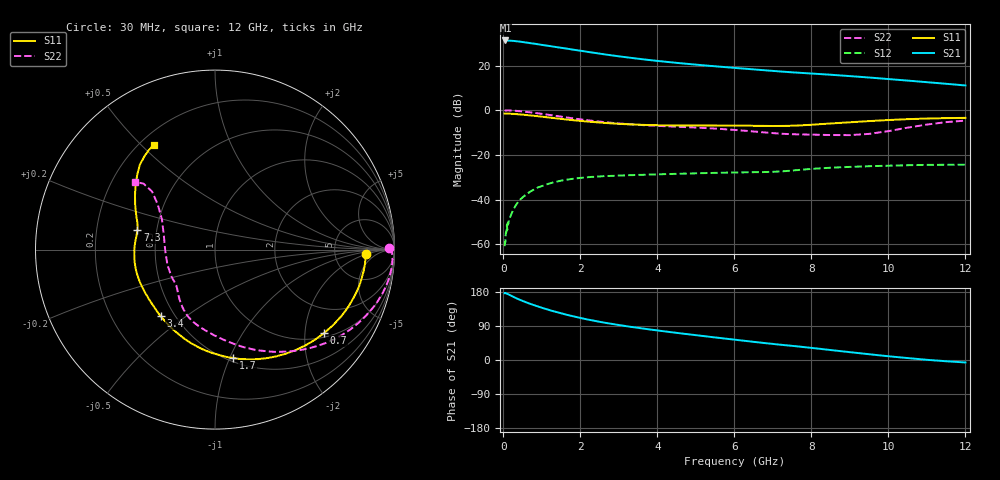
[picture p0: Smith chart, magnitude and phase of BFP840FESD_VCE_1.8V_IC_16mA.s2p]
! Infineon Technologies  Discrete & RF Semiconductors
! BFP840FESD
! VCE =  1.8 V,  IC =  16 mA
! Common Emitter S-Parameters:  May 2012
# GHz  S  MA  R  50
!  f  S11  S21  S12  S22
! GHz  MAG  ANG  MAG  ANG  MAG  ANG  MAG  ANG
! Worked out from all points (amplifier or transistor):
!   103 points, 30 MHz to 12 GHz, reference 50 ohm
!   highest |S21| = 31.3 dB at 50 MHz (marker M1)
!   |S21| within 3 dB of that: start of sweep to 1.387 GHz
!   unconditionally stable (mu >= 1): 6.066 GHz to end of sweep
!   at 400 MHz: K = 0.13, MSG = 35.8 dB, |S12| = -40.8 dB
!   at 3.7 GHz: K = 0.67, MSG = 25.8 dB, |S12| = -28.9 dB
!   at 12 GHz: K = 1.11, MAG = 15.7 dB, |S12| = -24.4 dB
!   S11 on the Smith chart (normalised r, x): 30 MHz: 11, -2; 700 MHz: 1.12, -2.51; 1.7 GHz: 0.53, -1.03; 3.4 GHz: 0.42, -0.40; 7.3 GHz: 0.39, +0.11; 12 GHz: 0.26, +0.55
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0.03  0.8395 -1.6  36.64 176.2  0.0009 109.7  0.9722 0.4
0.04  0.8406 -2.2  36.62 175.9  0.0011 84.2  0.9798 -0.2
0.05  0.8391 -2.7  36.64 177.0  0.0011 104.4  0.9843 -0.7
0.2  0.8326 -11.4  36.09 169.5  0.0046 80.9  0.9858 -8.0
0.35  0.8165 -19.6  35.06 162.3  0.0081 78.1  0.9656 -14.4
0.5  0.7967 -27.5  33.73 155.8  0.0112 73.1  0.9384 -20.1
0.7  0.7655 -37.4  31.82 148.1  0.0151 68.7  0.8963 -27.3
0.9  0.7332 -46.9  30.07 141.1  0.0187 63.6  0.8519 -34.0
1.2  0.6851 -60.4  27.45 131.6  0.0229 57.1  0.7836 -43.2
1.4  0.6549 -68.8  25.84 125.9  0.0253 53.0  0.7401 -48.9
1.7  0.6117 -80.6  23.6 118.0  0.0282 47.9  0.6779 -57.1
2.1  0.5664 -94.8  20.91 108.7  0.031 42.4  0.6102 -66.9
2.4  0.5396 -103.9  19.12 102.7  0.0324 39.0  0.5687 -73.3
2.7  0.5149 -112.4  17.52 97.2  0.0335 36.7  0.5335 -79.0
3.4  0.4787 -129.3  14.61 86.2  0.0353 32.8  0.4776 -90.6
4.1  0.4603 -143.5  12.5 76.7  0.0367 31.1  0.443 -99.8
5  0.4555 -158.9  10.52 65.5  0.0386 30.0  0.4089 -110.0
6.1  0.4509 -175.2  8.769 52.5  0.0404 29.7  0.3571 -122.0
7.3  0.4459 165.8  7.278 39.3  0.0431 33.6  0.2953 -136.7
8.5  0.5051 151.6  6.244 26.3  0.0516 32.5  0.2782 -162.4
10.5  0.6317 131.5  4.62 5.1  0.0586 26.0  0.4078 141.6
12  0.6746 120.2  3.595 -6.5  0.0604 23.8  0.5862 139.8
